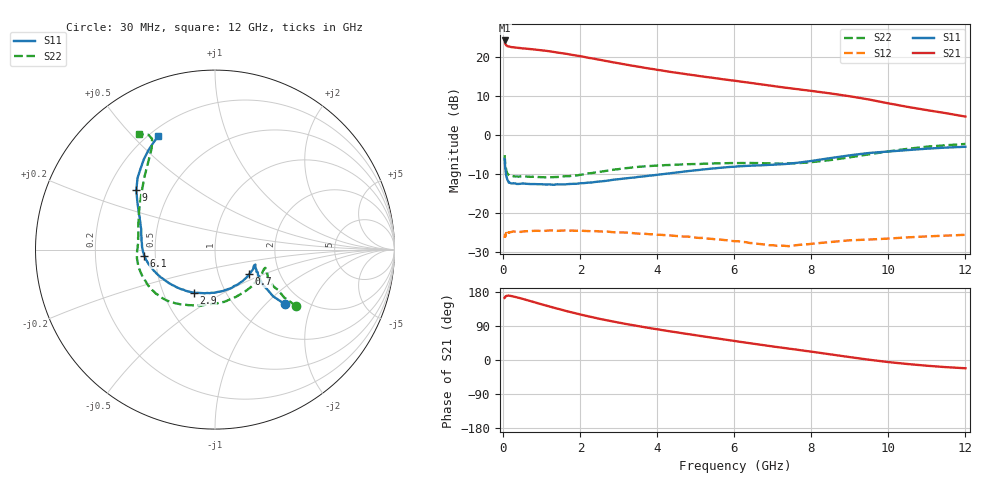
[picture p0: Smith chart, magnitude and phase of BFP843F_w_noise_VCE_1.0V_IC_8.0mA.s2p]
! Infineon Technologies  Discrete & RF Semiconductors
! BFP843F
! VCE =  1.0 V,  IC =  8.0 mA
! Common Emitter S-Parameters:  Aug 2013
# GHz  S  MA  R  50
!  f  S11  S21  S12  S22
! GHz  MAG  ANG  MAG  ANG  MAG  ANG  MAG  ANG
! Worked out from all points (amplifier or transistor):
!   103 points, 30 MHz to 12 GHz, reference 50 ohm
!   highest |S21| = 24.3 dB at 30 MHz (marker M1)
!   |S21| within 3 dB of that: start of sweep to 1.339 GHz
!   unconditionally stable (mu >= 1): 184.8 MHz to 625.2 MHz; 2.953 GHz to end of sweep
!   at 400 MHz: K = 1.00, MAG = 23.2 dB, |S12| = -24.7 dB
!   at 3.7 GHz: K = 1.07, MAG = 19.8 dB, |S12| = -25.4 dB
!   at 12 GHz: K = 1.43, MAG = 11.3 dB, |S12| = -25.6 dB
!   lowest NFmin = 0.80 dB at 450 MHz
!   S11 on the Smith chart (normalised r, x): 30 MHz: 1.62, -1.31; 700 MHz: 1.40, -0.41; 2.9 GHz: 0.71, -0.37; 6.1 GHz: 0.43, -0.03; 9 GHz: 0.32, +0.30; 12 GHz: 0.24, +0.59
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0.03  0.4946 -38.0  16.45 164.0  0.0477 32.1  0.5519 -34.8
0.04  0.4145 -38.8  15.49 164.8  0.0521 25.0  0.4687 -34.7
0.05  0.3699 -37.4  14.81 167.4  0.0496 23.1  0.4162 -32.6
0.07  0.3025 -33.6  14.3 168.7  0.0552 15.8  0.3593 -30.3
0.1  0.2686 -27.8  13.9 169.5  0.0559 9.7  0.3224 -24.9
0.15  0.2468 -23.9  13.73 169.8  0.0562 7.2  0.3013 -21.5
0.7  0.2346 -35.7  12.74 155.5  0.0584 1.5  0.2903 -37.0
0.9  0.2335 -44.4  12.44 149.5  0.0588 0.6  0.2889 -46.6
1.3  0.2293 -62.3  11.73 138.2  0.0593 -0.9  0.288 -66.2
1.6  0.2324 -75.0  11.14 130.1  0.0594 -2.7  0.2958 -79.9
2.1  0.2412 -94.1  10.11 117.6  0.0586 -4.9  0.3131 -100.5
2.5  0.2529 -106.7  9.288 108.5  0.0577 -6.9  0.3363 -112.9
2.9  0.2681 -116.5  8.535 100.6  0.0562 -8.5  0.3608 -122.3
3.5  0.2897 -130.3  7.573 89.5  0.0541 -10.0  0.3898 -133.1
4.1  0.3132 -142.3  6.781 79.3  0.0521 -11.9  0.4065 -142.0
5.1  0.3567 -159.8  5.725 63.7  0.0475 -12.1  0.425 -155.7
6.1  0.3964 -175.1  4.917 48.7  0.0432 -10.5  0.4367 -169.2
7  0.4152 170.5  4.279 35.7  0.0384 -4.4  0.4308 178.3
8.5  0.5065 148.6  3.426 14.8  0.0422 9.2  0.4771 152.3
9  0.5494 143.0  3.151 7.6  0.0444 10.7  0.5172 142.4
10.5  0.6409 128.2  2.302 -10.6  0.0484 13.4  0.6656 122.0
12  0.7064 116.5  1.729 -21.8  0.0522 18.5  0.769 123.3
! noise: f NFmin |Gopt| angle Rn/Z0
0.45  0.8  0.07  14  0.04
0.9  0.8  0.07  26  0.04
1.5  0.84  0.07  41  0.05
1.9  0.9  0.08  59  0.05
2.4  0.94  0.08  75  0.05
3.5  1  0.1  108  0.11
5.5  1.11  0.16  173  0.16
10  1.71  0.37  -118  0.26
